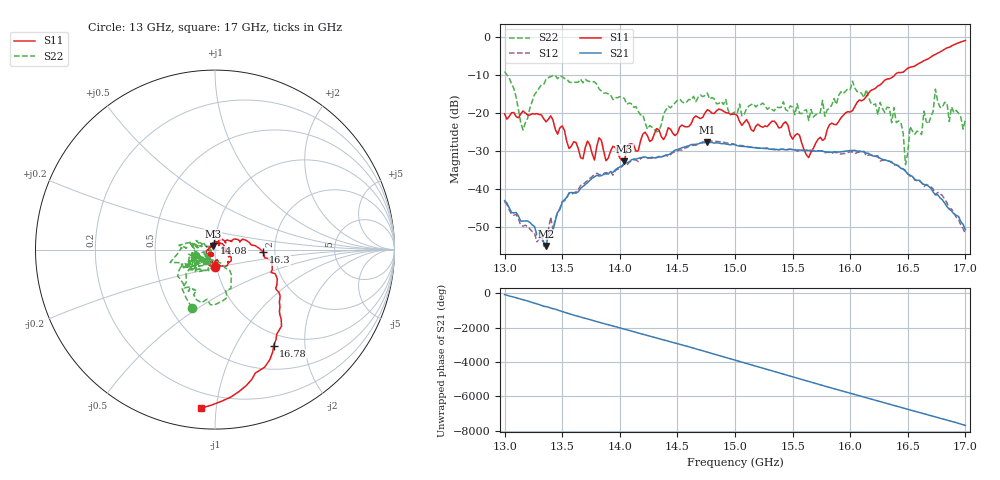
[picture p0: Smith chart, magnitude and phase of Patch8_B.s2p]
!Keysight Technologies,P9374A,MY57211810,A.19.30.04
!Date: Friday, May 09, 2025 10:42:53
!Correction: S11(Cdelta 2-Port  )
!S21(Cdelta 2-Port  )
!S12(Cdelta 2-Port  )
!S22(Cdelta 2-Port  )
!S2P File: Measurements: S11, S21, S12, S22:
# Hz S  dB  R 50
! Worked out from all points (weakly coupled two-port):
!   201 points, 13 GHz to 17 GHz, reference 50 ohm
!   highest |S21| = -27.74 dB at 14.76 GHz (marker M1); lowest = -54.9 dB at 13.36 GHz (marker M2)
!   lowest |S11| = -32.7 dB at 14.04 GHz (marker M3), VSWR 1.05, Z = 48.7 + j1.91 ohm
!   |S11| at or under -10 dB: start of sweep to 16.39 GHz
!   |S22| runs from -33.6 to -9.2 dB; largest |S21 - S12| = 0.0036
!   S11 on the Smith chart (normalised r, x): 13 GHz: 0.98, -0.19; 14.08 GHz: 0.99, +0.08; 16.3 GHz: 1.73, -0.05; 16.78 GHz: 0.82, -1.45; 17 GHz: 0.11, -0.91
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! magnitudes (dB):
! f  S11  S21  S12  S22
! 13 GHz  -20.3  -43.0  -43.3  -9.2
! 13.16 GHz  -19.5  -48.4  -49.7  -24.5
! 13.36 GHz  -22.4  -54.9  -53.6  -11.2
! 13.5 GHz  -23.4  -43.4  -43.3  -10.5
! 13.68 GHz  -32.0  -39.3  -38.9  -12.1
! 13.82 GHz  -26.5  -36.6  -36.2  -13.7
! 14.04 GHz  -32.7  -33.2  -33.4  -16.2
! 14.08 GHz  -28.2  -32.9  -33.1  -17.4
! 14.34 GHz  -24.5  -31.5  -31.4  -24.7
! 14.76 GHz  -19.2  -27.7  -27.5  -14.8
! 15 GHz  -20.3  -28.4  -28.3  -19.7
! 15.68 GHz  -29.3  -29.9  -30.0  -21.1
! 16.02 GHz  -19.4  -29.9  -30.2  -11.7
! 16.3 GHz  -11.4  -32.3  -32.4  -19.9
! 16.34 GHz  -11.1  -32.7  -32.7  -18.7
! 16.44 GHz  -9.5  -34.5  -34.6  -22.6
! 16.48 GHz  -8.8  -35.3  -35.1  -33.6
! 16.52 GHz  -8.0  -36.3  -36.6  -23.6
! 16.62 GHz  -6.7  -38.4  -38.3  -25.7
! 16.74 GHz  -4.7  -41.5  -41.5  -13.8
! 16.78 GHz  -4.1  -42.3  -41.2  -18.5
! 17 GHz  -1.0  -50.6  -51.7  -21.8
